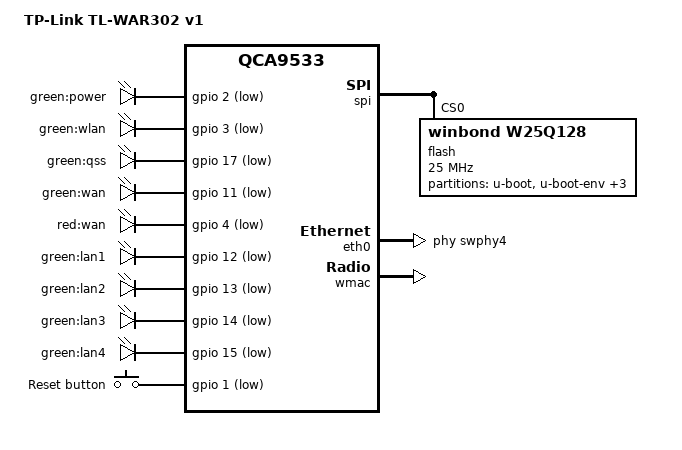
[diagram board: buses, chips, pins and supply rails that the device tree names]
#include "qca953x.dtsi"

#include <dt-bindings/gpio/gpio.h>
#include <dt-bindings/input/input.h>

/ {
	compatible = "tplink,tl-wr842n-v3", "qca,qca9533";
	model = "TP-Link TL-WAR302 v1";

	aliases {
		led-boot = &led_power;
		led-failsafe = &led_power;
		led-running = &led_power;
		led-upgrade = &led_power;
		label-mac-device = &eth1;
	};

	leds {
		compatible = "gpio-leds";

		led_power: power {
			label = "green:power";
			gpios = <&gpio 2 GPIO_ACTIVE_LOW>;
			default-state = "on";
		};

		wifi {
			label = "green:wlan";
			gpios = <&gpio 3 GPIO_ACTIVE_LOW>;
			linux,default-trigger = "phy0tpt";
		};

		qss {
			label = "green:qss";
			gpios = <&gpio 17 GPIO_ACTIVE_LOW>;
		};

		wan_green {
			label = "green:wan";
			gpios = <&gpio 11 GPIO_ACTIVE_LOW>;
		};

		wan_red {
			label = "red:wan";
			gpios = <&gpio 4 GPIO_ACTIVE_LOW>;
		};

		lan1 {
			label = "green:lan1";
			gpios = <&gpio 12 GPIO_ACTIVE_LOW>;
		};

		lan2 {
			label = "green:lan2";
			gpios = <&gpio 13 GPIO_ACTIVE_LOW>;
		};

		lan3 {
			label = "green:lan3";
			gpios = <&gpio 14 GPIO_ACTIVE_LOW>;
		};

		lan4 {
			label = "green:lan4";
			gpios = <&gpio 15 GPIO_ACTIVE_LOW>;
		};

	};

	keys {
		compatible = "gpio-keys";

		reset {
			label = "Reset button";
			linux,code = <KEY_RESTART>;
			gpios = <&gpio 1 GPIO_ACTIVE_LOW>;
			debounce-interval = <60>;
		};
	};
};

&spi {
	status = "okay";

	flash@0 {
		compatible = "winbond,w25q128", "jedec,spi-nor";
		reg = <0>;
		spi-max-frequency = <25000000>;

		partitions {
			compatible = "fixed-partitions";
			#address-cells = <1>;
			#size-cells = <1>;

			partition@0 {
				label = "u-boot";
				reg = <0x000000 0x020000>;
				read-only;
			};

			partition@20000 {
				label = "u-boot-env";
				reg = <0x020000 0x010000>;
				read-only;
			};

			partition@30000 {
				label = "partition-table";
				reg = <0x030000 0x010000>;
				read-only;
			};

			partition@40000 {
				compatible = "denx,uimage";
				label = "firmware";
				reg = <0x040000 0xfb0000>;
			};

			art: partition@ff0000 {
				label = "art";
				reg = <0xff0000 0x010000>;
				read-only;
			};
		};
	};
};

&eth0 {
	status = "okay";

	phy-handle = <&swphy4>;

	mtd-mac-address = <&art 0x0>;
};

&eth1 {
	mtd-mac-address = <&art 0x6>;

	gmac-config {
		device = <&gmac>;
		switch-phy-swap = <0>;
		switch-only-mode = <1>;
	};
};

&wmac {
	status = "okay";

	mtd-cal-data = <&art 0x1000>;
	mtd-mac-address = <&art 0x0>;
};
